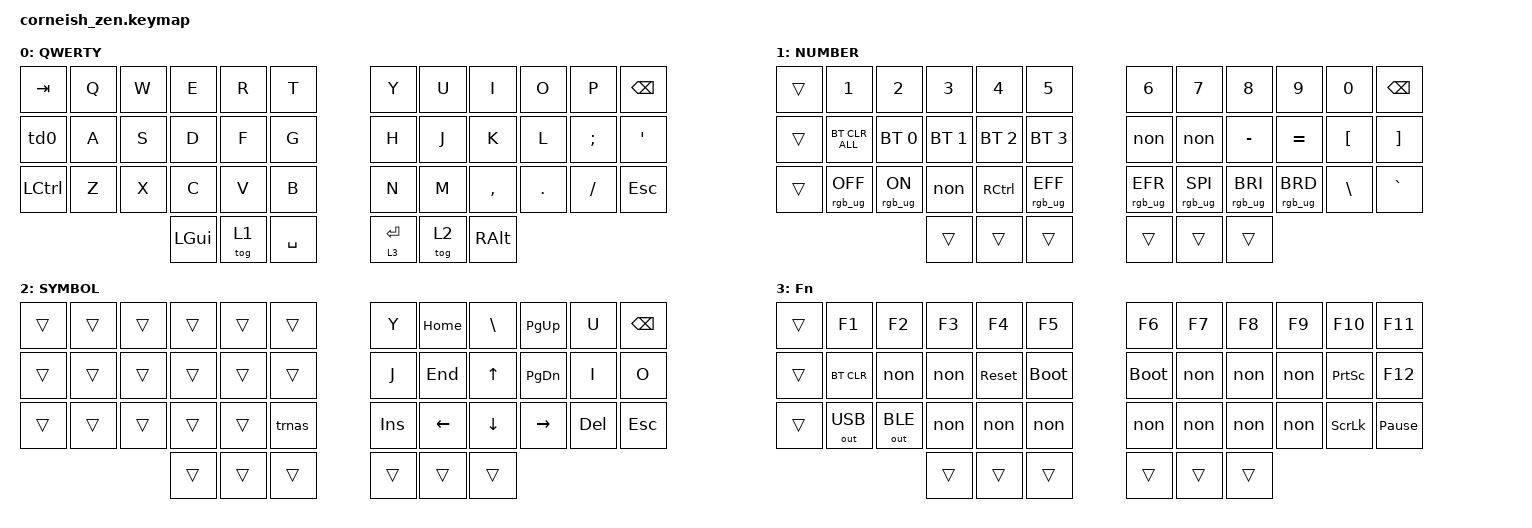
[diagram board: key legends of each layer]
/*
 * Copyright (c) 2020 The ZMK Contributors
 *
 * SPDX-License-Identifier: MIT
 */

#include <behaviors.dtsi>
#include <dt-bindings/zmk/bt.h>
#include <dt-bindings/zmk/keys.h>
#include <dt-bindings/zmk/outputs.h>
#include <dt-bindings/zmk/rgb.h>

/ {
    chosen {
        zmk,matrix_transform = &default_transform;

        // zmk,matrix_transform = &five_column_transform;
    };
};

/ {
    behaviors {
        td0: td0 {
            compatible = "zmk,behavior-tap-dance";
            label = "TD0";
            #binding-cells = <0>;
            bindings = <&kp LEFT_SHIFT>, <&kp CAPS>;
        };
    };

    keymap {
        compatible = "zmk,keymap";

        default_layer {
            display-name = "QWERTY";

            // --------------------------------------------------------------------------------
            // |  TAB |  Q  |  W  |  E  |  R  |  T  |   |  Y  |  U   |  I  |  O  |  P  | BKSP |
            // | SHFT |  A  |  S  |  D  |  F  |  G  |   |  H  |  J   |  K  |  L  |  ;  |  '   | 
            // | CTRL |  Z  |  X  |  C  |  V  |  B  |   |  N  |  M   |  ,  |  .  |  /  | ESC  |
            //                    | GUI | LWR | SPC |   | ENT | RSE  | ALT |

            bindings = <
&kp TAB    &kp Q  &kp W  &kp E     &kp R  &kp T          &kp Y        &kp U  &kp I      &kp O    &kp P     &kp BSPC
&td0       &kp A  &kp S  &kp D     &kp F  &kp G          &kp H        &kp J  &kp K      &kp L    &kp SEMI  &kp SQT
&kp LCTRL  &kp Z  &kp X  &kp C     &kp V  &kp B          &kp N        &kp M  &kp COMMA  &kp DOT  &kp FSLH  &kp ESC
                        &kp LGUI  &tog 1  &kp SPACE    &lt 3 ENTER  &tog 2  &kp RALT
            >;
        };

        lower_layer {
            display-name = "NUMBER";

            // -----------------------------------------------------------------------------------------
            // |  TAB |  1  |  2  |  3  |  4  |  5  |   |  6  |  7  |  8  |  9  |  0  | BKSP |
            // | SHFT | BTCL| BT0 | BT1 | BT2 | BT3 |   | non | non |  -  |  =  |  [  |   ]  |
            // | CTRL |     |     | non |RCTRL|     |   |     |     |     |     |  \  |   ~  |
            //                    | GUI | LWR | SPC |   | ENT | RSE | ALT |

            bindings = <
&trans  &kp N1           &kp N2          &kp N3        &kp N4        &kp N5                 &kp N6           &kp N7           &kp N8           &kp N9           &kp N0    &kp BSPC
&trans  &bt BT_CLR_ALL   &bt BT_SEL 0    &bt BT_SEL 1  &bt BT_SEL 2  &bt BT_SEL 3           &non           &non          &kp MINUS      &kp EQUAL     &kp LBKT      &kp RBKT
&trans  &rgb_ug RGB_OFF  &rgb_ug RGB_ON  &non          &kp RCTRL     &rgb_ug RGB_EFF        &rgb_ug RGB_EFR  &rgb_ug RGB_SPI  &rgb_ug RGB_BRI  &rgb_ug RGB_BRD  &kp BACKSLASH   &kp GRAVE
                                         &trans        &trans        &trans              &trans          &trans          &trans
            >;
        };

        raise_layer {
            display-name = "SYMBOL";

            // -----------------------------------------------------------------------------------------
            // |  TAB |  TS |  TS |  TS |  TS |  TS |   |  Y |HOME |  \  |PGUP |  U | BKSP |
            // | SHFT |  TS |  TS |  TS |  TS |  TS |   |  J | END |  ↑  |PGDN |  I |   O  |
            // | CTRL |  TS |  TS |  TS |  TS |  TS |   |INS |  ←  |  ↓  |  →  | DEL| ESC  |
            //                    | GUI | LWR | SPC |   | ENT | RSE | ALT |

            bindings = <
&trans    &trans    &trans    &trans    &trans    &trans         &kp Y  &kp HOME  &kp BACKSLASH  &kp PG_UP  &kp U  &kp BSPC
&trans    &trans    &trans    &trans    &trans    &trans         &kp J  &kp END  &kp UP_ARROW   &kp PG_DN  &kp I  &kp O
&trans    &trans    &trans    &trans    &trans    &trnas         &kp INS  &kp LEFT_ARROW   &kp DOWN_ARROW   &kp RIGHT_ARROW  &kp DEL  &kp ESC
                             &trans    &trans    &trans         &trans    &trans     &trans
            >;
        };

        layer_3 {
            display-name = "Fn";
            bindings = <
&trans  &kp F1      &kp F2  &kp F3  &kp F4      &kp F5         &kp F6       &kp F7  &kp F8  &kp F9  &kp F10          &kp F11
&trans  &bt BT_CLR  &non  &non  &sys_reset  &bootloader        &bootloader  &non    &non    &non    &kp PRINTSCREEN  &kp F12
&trans  &out OUT_USB  &out OUT_BLE  &non  &non   &non          &non         &non    &non    &non    &kp SCROLLLOCK   &kp PAUSE_BREAK
                            &trans  &trans      &trans         &trans       &trans  &trans
            >;
        };
    };
};
